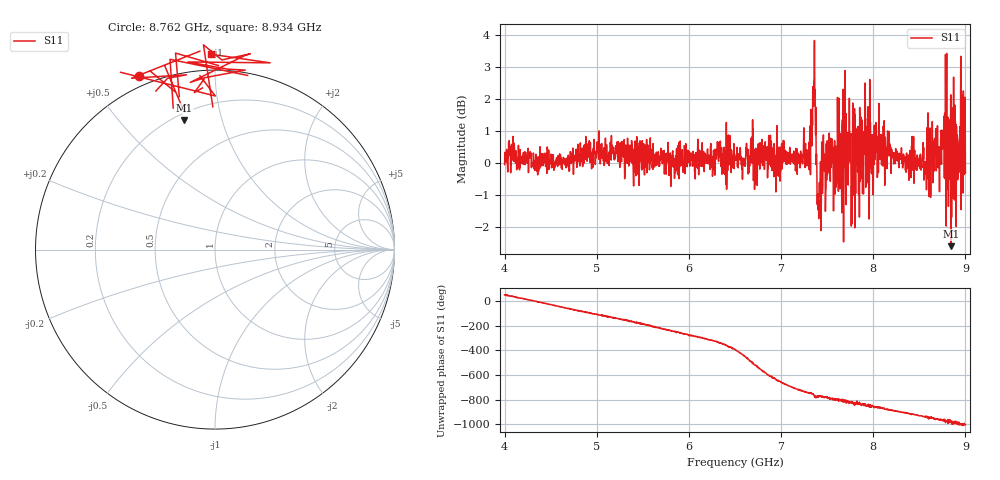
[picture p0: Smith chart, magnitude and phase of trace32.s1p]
! Created with skrf 1.8.0 (http://scikit-rf.org).
# Hz S RI R 50.0
!freq ReS11 ImS11
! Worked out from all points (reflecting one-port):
!   1601 points, 4 GHz to 9 GHz, reference 50 ohm
!   lowest |S11| = -2.6 dB at 8.844 GHz (marker M1), VSWR 6.74, Z = 11.9 + j38.2 ohm
!   phase of S11 starts at 50 deg and turns -1053 deg over the sweep
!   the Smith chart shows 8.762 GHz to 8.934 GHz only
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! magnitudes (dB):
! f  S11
! 4 GHz  0.0
! 4.625 GHz  -0.2
! 5.25 GHz  -0.1
! 5.875 GHz  0.1
! 6.5 GHz  0.1
! 7.125 GHz  0.2
! 7.294 GHz  0.2
! 7.347 GHz  2.1
! 7.366 GHz  2.1
! 7.397 GHz  -1.0
! 7.412 GHz  -1.1
! 7.453 GHz  -0.7
! 7.538 GHz  0.8
! 7.584 GHz  -1.0
! 7.628 GHz  2.0
! 7.75 GHz  0.0
! 7.784 GHz  -0.2
! 7.803 GHz  1.5
! 7.928 GHz  0.4
! 7.981 GHz  -0.3
! 8.088 GHz  0.1
! 8.375 GHz  -0.1
! 8.625 GHz  -1.0
! 8.738 GHz  0.3
! 8.775 GHz  1.6
! 8.844 GHz  -2.6
! 8.953 GHz  -1.5
! 9 GHz  -0.3
